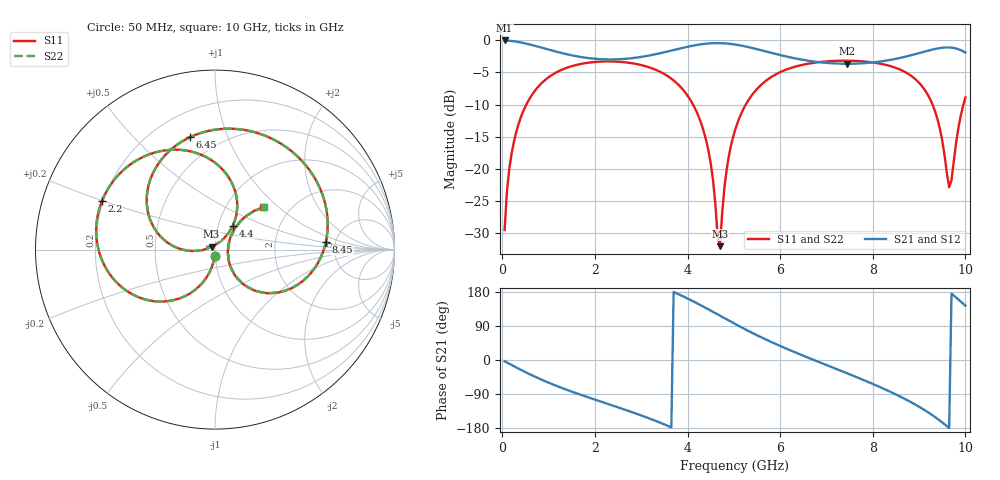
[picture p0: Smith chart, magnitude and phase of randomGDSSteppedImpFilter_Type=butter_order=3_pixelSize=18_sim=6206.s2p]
! freq	dB(S11)	phase(S11)	dB(S12)	phase(S12)
!  dB(S21)	phase(S21)	dB(S22)	phase(S22)
!S-par simulation data
#  GHz  S  DB  R 50
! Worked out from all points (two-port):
!   200 points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, 50 MHz to 10 GHz, reference 50 ohm
!   highest |S21| = -0.01 dB at 50 MHz (marker M1); lowest = -3.6 dB at 7.45 GHz (marker M2)
!   |S21| within 3 dB of the highest: start of sweep to 6.474 GHz; 8.403 GHz to end of sweep
!   lowest |S11| = -32.1 dB at 4.7 GHz (marker M3), VSWR 1.05, Z = 48.1 + j1.52 ohm
!   |S11| at or under -10 dB: start of sweep to 520 MHz; 4.118 GHz to 5.259 GHz (1.141 GHz wide, 24.3 % of centre); 9.289 GHz to 9.958 GHz (668.2 MHz wide, 6.94 % of centre)
!   |S22| runs from -32.0 to -3.2 dB; largest |S21 - S12| = 0
!   S11 on the Smith chart (normalised r, x): 50 MHz: 0.99, -0.07; 2.2 GHz: 0.19, +0.20; 4.4 GHz: 1.17, +0.32; 6.45 GHz: 0.35, +0.74; 8.45 GHz: 4.17, +0.56; 10 GHz: 1.48, +0.80
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0.05  -29.57 -93.4  -0.01 -3.3  -0.01 -3.3  -29.57 -93.4
0.2  -17.68 -103.6  -0.10 -13.2  -0.10 -13.2  -17.68 -103.6
0.5  -10.28 -122.5  -0.47 -32.0  -0.47 -32.0  -10.28 -122.5
1.05  -5.49 -152.9  -1.53 -62.4  -1.53 -62.4  -5.49 -152.9
1.75  -3.59 175.3  -2.65 -94.2  -2.65 -94.2  -3.59 175.3
2.2  -3.28 156.9  -2.95 -112.7  -2.95 -112.7  -3.28 156.9
3.4  -4.86 105.5  -2.01 -164.9  -2.01 -164.9  -4.86 105.5
4  -8.61 74.3  -0.99 162.4  -0.99 162.4  -8.61 74.3
4.4  -15.53 53.3  -0.51 137.1  -0.51 137.1  -15.52 53.5
4.7  -32.09 140.6  -0.42 117.0  -0.42 117.0  -31.98 140.3
4.85  -19.87 -176.0  -0.48 106.8  -0.48 106.8  -19.86 -176.2
5.05  -13.46 177.3  -0.67 93.5  -0.67 93.5  -13.46 177.2
5.7  -6.26 141.2  -1.74 53.6  -1.74 53.6  -6.26 141.2
6.45  -3.86 102.7  -2.98 13.8  -2.98 13.8  -3.86 102.7
6.7  -3.52 90.6  -3.27 1.4  -3.27 1.4  -3.52 90.6
7.45  -3.16 54.7  -3.64 -35.2  -3.64 -35.2  -3.16 54.8
8.35  -3.94 9.3  -3.08 -82.2  -3.08 -82.2  -3.94 9.5
8.45  -4.16 3.9  -2.94 -88.0  -2.94 -88.0  -4.16 4.0
9.25  -9.34 -43.8  -1.49 -142.6  -1.49 -142.6  -9.33 -43.4
9.45  -13.81 -52.4  -1.19 -160.0  -1.19 -160.0  -13.77 -51.7
9.65  -22.89 -10.0  -1.10 -179.4  -1.10 -179.4  -22.60 -9.7
10  -8.90 41.3  -1.90 143.4  -1.90 143.4  -8.89 41.0
